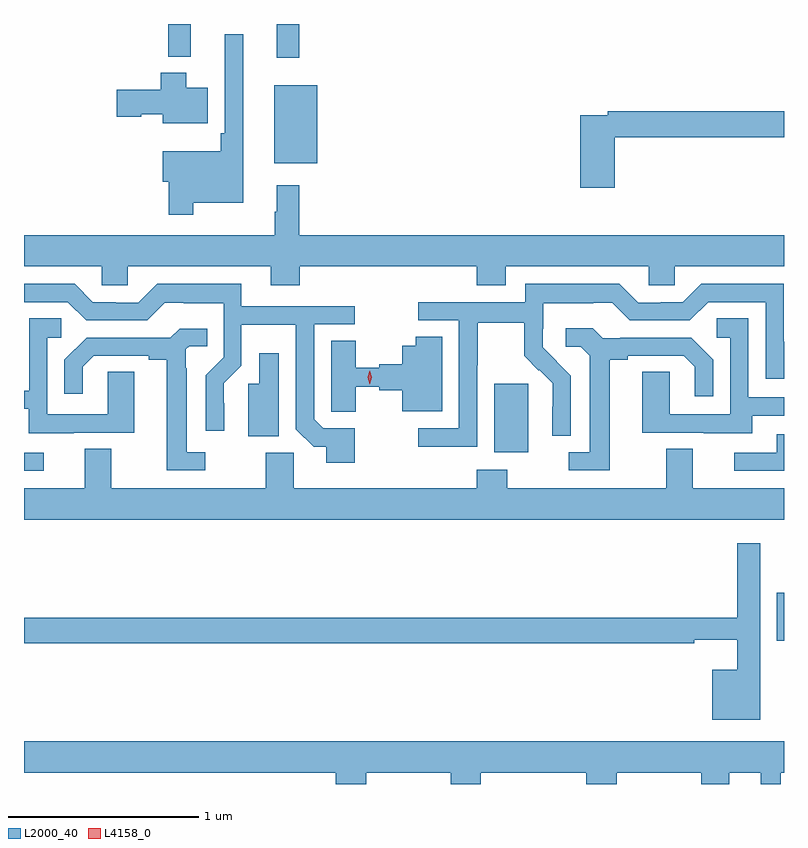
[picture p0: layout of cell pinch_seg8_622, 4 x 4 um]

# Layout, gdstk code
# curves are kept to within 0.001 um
import gdstk
lib = gdstk.Library(unit=1e-6, precision=1e-09)
def R(c, l, rs):  # rectangles x0, y0, x1, y1
    for r in rs: c.add(gdstk.rectangle(r[:2], r[2:], *l))
def P(c, l, *ps):  # polygons
    for p in ps: c.add(gdstk.Polygon(p, *l))
L2000_40 = (2000, 40)
L4158_0 = (4158, 0)

pinch_seg8_622 = lib.new_cell('pinch_seg8_622')
R(pinch_seg8_622, L2000_40, [(283.805,1109.201,283.843,1109.455), (279.843,1110.096,279.946,1110.192), (282.317,1110.194,282.496,1110.555), (281.159,1111.715,281.386,1112.125), (281.174,1112.271,281.291,1112.448), (280.603,1112.276,280.721,1112.448)])
P(pinch_seg8_622, L2000_40, [(280.735,1111.508),(280.996,1111.508),(280.996,1112.395),(280.899,1112.395),(280.899,1111.873),(280.879,1111.873),(280.879,1111.777),(280.572,1111.777),(280.572,1111.619),(280.606,1111.619),(280.606,1111.443),(280.735,1111.443)],
  [(280.81,1112.113),(280.696,1112.113),(280.696,1112.191),(280.562,1112.191),(280.562,1112.103),(280.332,1112.103),(280.332,1111.961),(280.461,1111.961),(280.461,1111.973),(280.574,1111.973),(280.574,1111.925),(280.81,1111.925)],
  [(282.953,1111.852),(283.843,1111.852),(283.843,1111.988),(282.916,1111.988),(282.916,1111.968),(282.77,1111.968),(282.77,1111.587),(282.953,1111.587)],
  [(281.291,1111.6),(281.174,1111.6),(281.174,1111.46),(281.163,1111.46),(281.163,1111.336),(279.843,1111.336),(279.843,1111.172),(280.251,1111.172),(280.251,1111.074),(280.389,1111.074),(280.389,1111.172),(281.141,1111.172),(281.141,1111.073),(281.294,1111.073),(281.294,1111.172),(282.227,1111.172),(282.227,1111.073),(282.379,1111.073),(282.379,1111.172),(283.131,1111.172),(283.131,1111.074),(283.269,1111.074),(283.269,1111.172),(283.843,1111.172),(283.843,1111.336),(281.291,1111.336)],
  [(282.228,1110.652),(282.231,1110.652),(282.231,1110.876),(282.475,1110.876),(282.475,1110.701),(282.552,1110.624),(282.555,1110.627),(282.626,1110.557),(282.626,1110.434),(282.624,1110.434),(282.624,1110.28),(282.72,1110.28),(282.72,1110.598),(282.574,1110.746),(282.574,1110.843),(282.576,1110.843),(282.576,1110.977),(282.839,1110.977),(282.839,1110.981),(282.939,1110.981),(283.032,1110.888),(283.347,1110.888),(283.443,1110.984),(283.746,1110.984),(283.746,1110.582),(283.843,1110.582),(283.842,1111.08),(283.407,1111.08),(283.311,1110.984),(283.193,1110.984),(283.193,1110.981),(283.077,1110.981),(282.977,1111.081),(282.48,1111.081),(282.48,1110.984),(281.919,1110.984),(281.919,1110.888),(282.132,1110.888),(282.132,1110.321),(281.919,1110.321),(281.919,1110.223),(282.228,1110.223)],
  [(281.583,1110.321),(281.418,1110.321),(281.37,1110.369),(281.37,1110.867),(281.584,1110.867),(281.584,1110.963),(280.987,1110.963),(280.987,1111.081),(280.543,1111.081),(280.443,1110.981),(280.326,1110.981),(280.326,1110.984),(280.206,1110.984),(280.11,1111.08),(279.843,1111.08),(279.843,1110.984),(280.074,1110.984),(280.17,1110.888),(280.491,1110.888),(280.584,1110.981),(280.684,1110.981),(280.684,1110.977),(280.893,1110.977),(280.893,1110.693),(280.8,1110.6),(280.8,1110.306),(280.896,1110.306),(280.895,1110.558),(280.986,1110.65),(280.986,1110.866),(281.274,1110.866),(281.274,1110.315),(281.367,1110.223),(281.435,1110.223),(281.435,1110.138),(281.583,1110.138)],
  [(283.675,1110.387),(283.843,1110.387),(283.843,1110.483),(283.656,1110.483),(283.656,1110.899),(283.488,1110.899),(283.488,1110.798),(283.56,1110.798),(283.56,1110.393),(283.242,1110.393),(283.242,1110.617),(283.097,1110.617),(283.097,1110.297),(283.421,1110.297),(283.421,1110.293),(283.675,1110.293)],
  [(280.105,1110.297),(280.423,1110.297),(280.423,1110.617),(280.284,1110.617),(280.284,1110.393),(279.966,1110.393),(279.966,1110.798),(280.039,1110.798),(280.039,1110.899),(279.87,1110.899),(279.87,1110.519),(279.843,1110.519),(279.843,1110.422),(279.869,1110.422),(279.869,1110.293),(280.105,1110.293)],
  [(282.925,1110.68),(283.021,1110.68),(283.021,1110.702),(283.316,1110.702),(283.373,1110.645),(283.373,1110.489),(283.47,1110.489),(283.47,1110.682),(283.354,1110.798),(282.982,1110.798),(282.982,1110.795),(282.888,1110.795),(282.836,1110.847),(282.693,1110.847),(282.693,1110.75),(282.774,1110.75),(282.821,1110.703),(282.821,1110.195),(282.711,1110.195),(282.711,1110.099),(282.925,1110.099)],
  [(280.798,1110.195),(280.699,1110.195),(280.699,1110.635),(280.695,1110.635),(280.695,1110.735),(280.713,1110.753),(280.808,1110.753),(280.808,1110.845),(280.662,1110.845),(280.614,1110.798),(280.172,1110.798),(280.056,1110.682),(280.056,1110.501),(280.153,1110.501),(280.153,1110.645),(280.21,1110.702),(280.499,1110.702),(280.499,1110.682),(280.595,1110.682),(280.595,1110.099),(280.798,1110.099)],
  [(281.59,1110.539),(281.712,1110.539),(281.712,1110.52),(281.834,1110.52),(281.834,1110.41),(282.043,1110.41),(282.043,1110.803),(281.905,1110.803),(281.905,1110.754),(281.834,1110.754),(281.834,1110.656),(281.712,1110.656),(281.712,1110.639),(281.59,1110.639),(281.59,1110.782),(281.459,1110.782),(281.459,1110.514),(281.46,1110.514),(281.46,1110.406),(281.59,1110.406)],
  [(281.185,1110.715),(281.081,1110.715),(281.081,1110.555),(281.024,1110.555),(281.024,1110.277),(281.185,1110.277)],
  [(283.843,1110.288),(283.805,1110.288),(283.805,1110.192),(283.581,1110.192),(283.581,1110.096),(283.843,1110.096)],
  [(283.843,1110.004),(283.363,1110.004),(283.363,1110.212),(283.223,1110.212),(283.223,1110.004),(282.387,1110.004),(282.387,1110.103),(282.227,1110.103),(282.227,1110.004),(281.262,1110.004),(281.262,1110.192),(281.116,1110.192),(281.116,1110.004),(280.303,1110.004),(280.303,1110.212),(280.163,1110.212),(280.163,1110.004),(279.843,1110.004),(279.843,1109.84),(283.843,1109.84)],
  [(283.717,1109.716),(283.596,1109.716),(283.596,1109.324),(279.843,1109.324),(279.843,1109.188),(283.37,1109.188),(283.37,1109.207),(283.596,1109.207),(283.596,1109.05),(283.466,1109.05),(283.466,1108.787),(283.717,1108.787)],
  [(281.643,1108.508),(282.088,1108.508),(282.088,1108.448),(282.248,1108.448),(282.248,1108.508),(282.803,1108.508),(282.803,1108.448),(282.963,1108.448),(282.963,1108.508),(283.408,1108.508),(283.408,1108.448),(283.555,1108.448),(283.555,1108.508),(283.721,1108.508),(283.721,1108.448),(283.825,1108.448),(283.825,1108.508),(283.843,1108.508),(283.843,1108.672),(279.843,1108.672),(279.843,1108.508),(281.483,1108.508),(281.483,1108.448),(281.643,1108.448)])
P(pinch_seg8_622, L4158_0, [(281.663,1110.553),(281.663,1110.553),(281.653,1110.589),(281.663,1110.624),(281.663,1110.624),(281.663,1110.624),(281.673,1110.589),(281.663,1110.553)])

lib.write_gds('pinch_seg8_622.gds')
